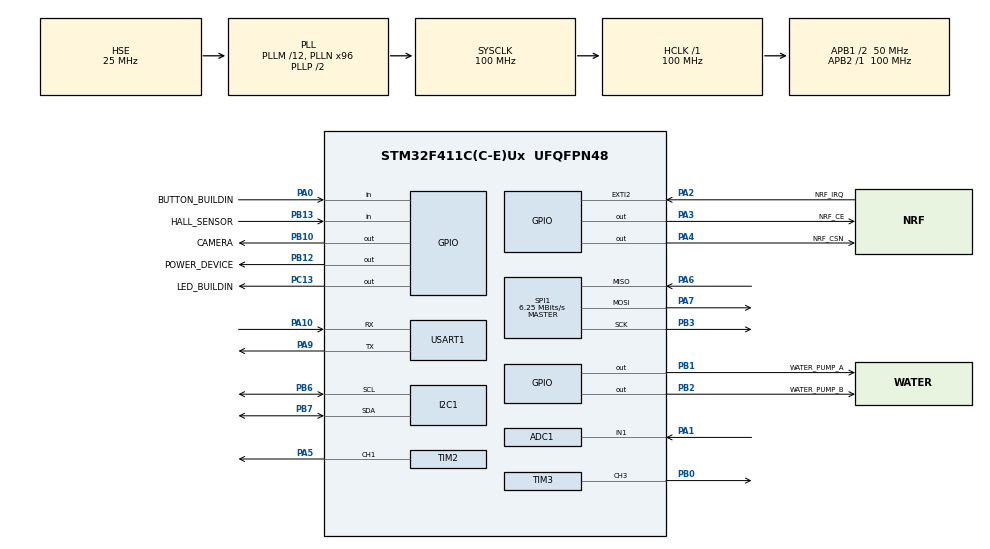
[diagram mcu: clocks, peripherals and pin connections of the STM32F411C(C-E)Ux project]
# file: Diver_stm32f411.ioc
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ADC1.Channel-0\#ChannelRegularConversion=ADC_CHANNEL_1
ADC1.NbrOfConversion=1
ADC1.NbrOfConversionFlag=1
ADC1.Rank-0\#ChannelRegularConversion=1
ADC1.SamplingTime-0\#ChannelRegularConversion=ADC_SAMPLETIME_15CYCLES
ADC1.master=1
Dma.ADC1.0.Direction=DMA_PERIPH_TO_MEMORY
Dma.ADC1.0.FIFOMode=DMA_FIFOMODE_DISABLE
Dma.ADC1.0.Instance=DMA2_Stream0
Dma.ADC1.0.MemDataAlignment=DMA_MDATAALIGN_HALFWORD
Dma.ADC1.0.MemInc=DMA_MINC_ENABLE
Dma.ADC1.0.Mode=DMA_NORMAL
Dma.ADC1.0.PeriphDataAlignment=DMA_PDATAALIGN_HALFWORD
Dma.ADC1.0.PeriphInc=DMA_PINC_DISABLE
Dma.ADC1.0.Priority=DMA_PRIORITY_MEDIUM
Dma.Request0=ADC1
Dma.Request1=TIM2_CH1
Dma.Request2=TIM3_CH3
Dma.TIM2_CH1.1.Direction=DMA_MEMORY_TO_PERIPH
Dma.TIM2_CH1.1.FIFOMode=DMA_FIFOMODE_DISABLE
Dma.TIM2_CH1.1.Instance=DMA1_Stream5
Dma.TIM2_CH1.1.MemDataAlignment=DMA_MDATAALIGN_HALFWORD
Dma.TIM2_CH1.1.MemInc=DMA_MINC_ENABLE
Dma.TIM2_CH1.1.Mode=DMA_NORMAL
Dma.TIM2_CH1.1.PeriphDataAlignment=DMA_PDATAALIGN_HALFWORD
Dma.TIM2_CH1.1.PeriphInc=DMA_PINC_DISABLE
Dma.TIM2_CH1.1.Priority=DMA_PRIORITY_LOW
Dma.TIM3_CH3.2.Direction=DMA_MEMORY_TO_PERIPH
Dma.TIM3_CH3.2.FIFOMode=DMA_FIFOMODE_DISABLE
Dma.TIM3_CH3.2.Instance=DMA1_Stream7
Dma.TIM3_CH3.2.MemDataAlignment=DMA_MDATAALIGN_HALFWORD
Dma.TIM3_CH3.2.MemInc=DMA_MINC_ENABLE
Dma.TIM3_CH3.2.Mode=DMA_NORMAL
Dma.TIM3_CH3.2.PeriphDataAlignment=DMA_PDATAALIGN_HALFWORD
Dma.TIM3_CH3.2.PeriphInc=DMA_PINC_DISABLE
Dma.TIM3_CH3.2.Priority=DMA_PRIORITY_LOW
FREERTOS.Queues01=radioMessage,8,32,1,Dynamic,NULL,NULL
FREERTOS.Tasks01=motors,24,512,motorsTask,Default,NULL,Dynamic,NULL,NULL;radio,40,256,radioTask,Default,NULL,Dynamic,NULL,NULL;syringe,8,256,syringeTask,Default,NULL,Dynamic,NULL,NULL;sensors,8,256,sensorTask,Default,NULL,Dynamic,NULL,NULL
FREERTOS.configUSE_NEWLIB_REENTRANT=1
Mcu.Family=STM32F4
Mcu.Name=STM32F411C(C-E)Ux
Mcu.Package=UFQFPN48
NVIC.ADC_IRQn=true\:5\:0\:false\:false\:true\:true\:true\:true\:true
NVIC.DMA1_Stream5_IRQn=true\:5\:0\:false\:false\:true\:true\:false\:true\:true
NVIC.DMA1_Stream7_IRQn=true\:5\:0\:false\:false\:true\:true\:false\:true\:true
NVIC.DMA2_Stream0_IRQn=true\:5\:0\:false\:false\:true\:true\:false\:true\:true
NVIC.EXTI2_IRQn=true\:5\:0\:false\:false\:true\:true\:true\:true\:true
NVIC.I2C1_EV_IRQn=true\:5\:0\:false\:false\:true\:true\:true\:true\:true
NVIC.PriorityGroup=NVIC_PRIORITYGROUP_4
NVIC.SPI1_IRQn=true\:5\:0\:false\:false\:true\:true\:true\:true\:true
NVIC.TIM1_UP_TIM10_IRQn=true\:0\:0\:false\:false\:true\:false\:false\:true\:true
NVIC.TimeBase=TIM1_UP_TIM10_IRQn
NVIC.TimeBaseIP=TIM1
NVIC.USART1_IRQn=true\:5\:0\:false\:false\:true\:true\:true\:true\:true
PA0-WKUP.GPIO_Label=BUTTON_BUILDIN
PA0-WKUP.GPIO_PuPd=GPIO_PULLUP
PA0-WKUP.Signal=GPIO_Input
PA1.Signal=ADCx_IN1
PA10.Mode=Asynchronous
PA10.Signal=USART1_RX
PA13.Mode=Serial_Wire
PA13.Signal=SYS_JTMS-SWDIO
PA14.Mode=Serial_Wire
PA14.Signal=SYS_JTCK-SWCLK
PA2.GPIO_Label=NRF_IRQ
PA2.GPIO_ModeDefaultEXTI=GPIO_MODE_IT_FALLING
PA2.GPIO_PuPd=GPIO_PULLUP
PA2.Signal=GPXTI2
PA3.GPIO_Label=NRF_CE
PA3.Signal=GPIO_Output
PA4.GPIO_Label=NRF_CSN
PA4.Signal=GPIO_Output
PA5.Signal=S_TIM2_CH1_ETR
PA6.Mode=Full_Duplex_Master
PA6.Signal=SPI1_MISO
PA7.Mode=Full_Duplex_Master
PA7.Signal=SPI1_MOSI
PA9.Mode=Asynchronous
PA9.Signal=USART1_TX
PB0.Signal=S_TIM3_CH3
PB1.GPIO_Label=WATER_PUMP_A
PB1.Signal=GPIO_Output
PB10.GPIO_Label=CAMERA
PB10.Signal=GPIO_Output
PB12.GPIO_Label=POWER_DEVICE
PB12.Signal=GPIO_Output
PB13.GPIO_Label=HALL_SENSOR
PB13.Signal=GPIO_Input
PB2.GPIO_Label=WATER_PUMP_B
PB2.Signal=GPIO_Output
PB3.Mode=Full_Duplex_Master
PB3.Signal=SPI1_SCK
PB6.GPIO_Pu=GPIO_PULLUP
PB6.Mode=I2C
PB6.Signal=I2C1_SCL
PB7.GPIO_Pu=GPIO_PULLUP
PB7.Mode=I2C
PB7.Signal=I2C1_SDA
PC13-ANTI_TAMP.GPIO_Label=LED_BUILDIN
PC13-ANTI_TAMP.Signal=GPIO_Output
PH0\ -\ OSC_IN.Mode=HSE-External-Oscillator
PH0\ -\ OSC_IN.Signal=RCC_OSC_IN
PH1\ -\ OSC_OUT.Mode=HSE-External-Oscillator
PH1\ -\ OSC_OUT.Signal=RCC_OSC_OUT
ProjectManager.HeapSize=0x200
ProjectManager.StackSize=0x400
ProjectManager.TargetToolchain=STM32CubeIDE
RCC.48MHZClocksFreq_Value=50000000
RCC.AHBFreq_Value=100000000
RCC.APB1CLKDivider=RCC_HCLK_DIV2
RCC.APB1Freq_Value=50000000
RCC.APB1TimFreq_Value=100000000
RCC.APB2Freq_Value=100000000
RCC.APB2TimFreq_Value=100000000
RCC.CortexFreq_Value=100000000
RCC.HCLKFreq_Value=100000000
RCC.HSE_VALUE=25000000
RCC.HSI_VALUE=16000000
RCC.LSE_VALUE=32768
RCC.PLLM=12
RCC.PLLN=96
RCC.PLLSourceVirtual=RCC_PLLSOURCE_HSE
RCC.SYSCLKFreq_VALUE=100000000
RCC.SYSCLKSource=RCC_SYSCLKSOURCE_PLLCLK
RCC.VCOOutputFreq_Value=200000000
SH.ADCx_IN1.0=ADC1_IN1,IN1
SH.S_TIM2_CH1_ETR.0=TIM2_CH1,PWM Generation1 CH1
SH.S_TIM3_CH3.0=TIM3_CH3,PWM Generation3 CH3
SPI1.BaudRatePrescaler=SPI_BAUDRATEPRESCALER_16
SPI1.CalculateBaudRate=6.25 MBits/s
SPI1.Direction=SPI_DIRECTION_2LINES
SPI1.Mode=SPI_MODE_MASTER
SPI1.VirtualType=VM_MASTER
TIM2.Channel-PWM\ Generation1\ CH1=TIM_CHANNEL_1
TIM2.Period=2000
TIM2.Prescaler=1000
TIM3.Channel-PWM\ Generation3\ CH3=TIM_CHANNEL_3
TIM3.Period=2000
TIM3.Prescaler=1000
USART1.VirtualMode=VM_ASYNC
VP_FREERTOS_VS_CMSIS_V2.Mode=CMSIS_V2
VP_SYS_VS_tim1.Mode=TIM1
VP_TIM2_VS_ClockSourceINT.Mode=Internal
VP_TIM3_VS_ClockSourceINT.Mode=Internal
board=custom

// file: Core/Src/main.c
/* USER CODE BEGIN Header */
/**
  ******************************************************************************
  * @file           : main.c
  * @brief          : Main program body
  ******************************************************************************
  * @attention
  *
  * <h2><center>&copy; Copyright (c) 2022 STMicroelectronics.
  * All rights reserved.</center></h2>
  *
  * This software component is licensed by ST under BSD 3-Clause license,
  * the "License"; You may not use this file except in compliance with the
  * License. You may obtain a copy of the License at:
  *                        opensource.org/licenses/BSD-3-Clause
  *
  ******************************************************************************
  */
/* USER CODE END Header */
#include "main.h"
#include "cmsis_os.h"

/* USER CODE BEGIN Includes */
#include <stdio.h>
//#include "nrf24l01.h"
#include "nrf24.h"
#include "lcd_i2c.h"
#include "vl6180.h"
#include "mpu6050.h"
#include "bmp280.h"
#include "add.h"
#include "radio_type.h"
/* USER CODE END Includes */

/* USER CODE BEGIN PTD */
typedef enum {
	ADC_CHANNEL_BATTERY,
	ADC_CHANNELS_NUM
} adc_channels;
/* USER CODE END PTD */

/* USER CODE BEGIN PM */
#define MIN_ESC						 						     80
#define MAX_ESC													 230

#define MIN_PISTON_OFFSET										 3
#define MAX_PISTON_OFFSET										 80
#define GUARD_COUNTER_S(x)										 ((x) * 100)

/* USER CODE END PM */

ADC_HandleTypeDef hadc1;
DMA_HandleTypeDef hdma_adc1;

I2C_HandleTypeDef hi2c1;

SPI_HandleTypeDef hspi1;

TIM_HandleTypeDef htim2;
TIM_HandleTypeDef htim3;
DMA_HandleTypeDef hdma_tim2_ch1;
DMA_HandleTypeDef hdma_tim3_ch3;

UART_HandleTypeDef huart1;

/* Definitions for motors */
osThreadId_t motorsHandle;
const osThreadAttr_t motors_attributes = {
  .name = "motors",
  .stack_size = 512 * 4,
  .priority = (osPriority_t) osPriorityNormal,
};
/* Definitions for radio */
osThreadId_t radioHandle;
const osThreadAttr_t radio_attributes = {
  .name = "radio",
  .stack_size = 256 * 4,
  .priority = (osPriority_t) osPriorityHigh,
};
/* Definitions for syringe */
osThreadId_t syringeHandle;
const osThreadAttr_t syringe_attributes = {
  .name = "syringe",
  .stack_size = 256 * 4,
  .priority = (osPriority_t) osPriorityLow,
};
/* Definitions for sensors */
osThreadId_t sensorsHandle;
const osThreadAttr_t sensors_attributes = {
  .name = "sensors",
  .stack_size = 256 * 4,
  .priority = (osPriority_t) osPriorityLow,
};
/* Definitions for radioMessage */
osMessageQueueId_t radioMessageHandle;
const osMessageQueueAttr_t radioMessage_attributes = {
  .name = "radioMessage"
};

void SystemClock_Config(void);
static void MX_GPIO_Init(void);
static void MX_DMA_Init(void);
static void MX_I2C1_Init(void);
static void MX_SPI1_Init(void);
static void MX_USART1_UART_Init(void);
static void MX_ADC1_Init(void);
static void MX_TIM2_Init(void);
static void MX_TIM3_Init(void);
void motorsTask(void *argument);
void radioTask(void *argument);
void syringeTask(void *argument);
void sensorTask(void *argument);

/* USER CODE BEGIN 0 */
uint64_t RxpipeAddrs = 0x11223344AA;
char myRxData[32];

uint32_t counter = 0;

mpu6050_t mpu6050;

uint16_t adcData[ADC_CHANNELS_NUM];
uint16_t adcVoltagemV[ADC_CHANNELS_NUM];
float adcVoltage[ADC_CHANNELS_NUM];

uint8_t piston_offset = 0;
int16_t temp_inside = 0;
uint32_t pressure_inside = 0;

int32_t temp_outside = 0;
uint64_t pressure_outside = 0;

volatile uint8_t rx_irq = 0;
uint8_t nrf_data[32] = {0};

//const uint64_t pipe0 = 0x787878787878;
const uint64_t pipe1 = 0xE8E8F0F0E2LL; // адрес первой трубы
//const uint64_t pipe2 = 0xE8E8F0F0A2LL;
//const uint64_t pipe3 = 0xE8E8F0F0D1LL;
//const uint64_t pipe4 = 0xE8E8F0F0C3LL;
const uint64_t pipe5 = 0xE8E8F0F0E7LL;

/* USER CODE END 0 */

int main(void)
{

  /* MCU Configuration--------------------------------------------------------*/

  /* Reset of all peripherals, Initializes the Flash interface and the Systick. */
  HAL_Init();

  /* Configure the system clock */
  SystemClock_Config();

  /* Initialize all configured peripherals */
  MX_GPIO_Init();
  MX_DMA_Init();
  MX_I2C1_Init();
  MX_SPI1_Init();
  MX_USART1_UART_Init();
  MX_ADC1_Init();
  MX_TIM2_Init();
  MX_TIM3_Init();
  /* USER CODE BEGIN 2 */

  power_on_waiting();

/*
  NRF24_begin(GPIOA, GPIO_PIN_4, GPIO_PIN_3, hspi1);
  nrf24_DebugUART_Init(huart1);

  NRF24_setAutoAck(true);
  NRF24_setChannel(52);
  NRF24_setPayloadSize(32);
  NRF24_openReadingPipe(1, RxpipeAddrs);
  NRF24_enableDynamicPayloads();
  NRF24_enableAckPayload();
  NRF24_startListening();
*/

    nrf_init(&hspi1, RF24_PA_MAX, RF24_250KBPS, 120, &huart1);

	nrf_openReadingPipe(1, pipe1);
	nrf_openReadingPipe(5, pipe5);
	nrf_startListening();
/*
  lcd_init(&hi2c1);
  lcd_clear();
*/
  mpu6050_init(&hi2c1);

  BMP280_Init(&hi2c1);

  bmp280_config conf;
  conf.filter = FILTER_16;
  conf.inactive = INACTIVE_125;
  conf.mode = MODE_NORMAL;
  conf.osrs_p = OVERSAMPLING_16;
  conf.osrs_t = OVERSAMPLING_16;
  BMP280_SetConfig(conf);

  vl6180_init(&hi2c1);

  /* USER CODE END 2 */

  /* Init scheduler */
  osKernelInitialize();

  /* Create the queue(s) */
  /* creation of radioMessage */
  radioMessageHandle = osMessageQueueNew (8, 32, &radioMessage_attributes);

  /* Create the thread(s) */
  /* creation of motors */
  motorsHandle = osThreadNew(motorsTask, NULL, &motors_attributes);

  /* creation of radio */
  radioHandle = osThreadNew(radioTask, NULL, &radio_attributes);

  /* creation of syringe */
  syringeHandle = osThreadNew(syringeTask, NULL, &syringe_attributes);

  /* creation of sensors */
  sensorsHandle = osThreadNew(sensorTask, NULL, &sensors_attributes);

  /* Start scheduler */
  osKernelStart();

  /* We should never get here as control is now taken by the scheduler */
  /* Infinite loop */
  while (1)
  {

  }
}

void SystemClock_Config(void)
{
  RCC_OscInitTypeDef RCC_OscInitStruct = {0};
  RCC_ClkInitTypeDef RCC_ClkInitStruct = {0};

  /** Configure the main internal regulator output voltage
  */
  __HAL_RCC_PWR_CLK_ENABLE();
  __HAL_PWR_VOLTAGESCALING_CONFIG(PWR_REGULATOR_VOLTAGE_SCALE1);

  /** Initializes the RCC Oscillators according to the specified parameters
  * in the RCC_OscInitTypeDef structure.
  */
  RCC_OscInitStruct.OscillatorType = RCC_OSCILLATORTYPE_HSE;
  RCC_OscInitStruct.HSEState = RCC_HSE_ON;
  RCC_OscInitStruct.PLL.PLLState = RCC_PLL_ON;
  RCC_OscInitStruct.PLL.PLLSource = RCC_PLLSOURCE_HSE;
  RCC_OscInitStruct.PLL.PLLM = 12;
  RCC_OscInitStruct.PLL.PLLN = 96;
  RCC_OscInitStruct.PLL.PLLP = RCC_PLLP_DIV2;
  RCC_OscInitStruct.PLL.PLLQ = 4;
  if (HAL_RCC_OscConfig(&RCC_OscInitStruct) != HAL_OK)
  {
    Error_Handler();
  }

  /** Initializes the CPU, AHB and APB buses clocks
  */
  RCC_ClkInitStruct.ClockType = RCC_CLOCKTYPE_HCLK|RCC_CLOCKTYPE_SYSCLK
                              |RCC_CLOCKTYPE_PCLK1|RCC_CLOCKTYPE_PCLK2;
  RCC_ClkInitStruct.SYSCLKSource = RCC_SYSCLKSOURCE_PLLCLK;
  RCC_ClkInitStruct.AHBCLKDivider = RCC_SYSCLK_DIV1;
  RCC_ClkInitStruct.APB1CLKDivider = RCC_HCLK_DIV2;
  RCC_ClkInitStruct.APB2CLKDivider = RCC_HCLK_DIV1;

  if (HAL_RCC_ClockConfig(&RCC_ClkInitStruct, FLASH_LATENCY_3) != HAL_OK)
  {
    Error_Handler();
  }
}

static void MX_ADC1_Init(void)
{

  ADC_ChannelConfTypeDef sConfig = {0};

  /** Configure the global features of the ADC (Clock, Resolution, Data Alignment and number of conversion)
  */
  hadc1.Instance = ADC1;
  hadc1.Init.ClockPrescaler = ADC_CLOCK_SYNC_PCLK_DIV4;
  hadc1.Init.Resolution = ADC_RESOLUTION_12B;
  hadc1.Init.ScanConvMode = DISABLE;
  hadc1.Init.ContinuousConvMode = DISABLE;
  hadc1.Init.DiscontinuousConvMode = DISABLE;
  hadc1.Init.ExternalTrigConvEdge = ADC_EXTERNALTRIGCONVEDGE_NONE;
  hadc1.Init.ExternalTrigConv = ADC_SOFTWARE_START;
  hadc1.Init.DataAlign = ADC_DATAALIGN_RIGHT;
  hadc1.Init.NbrOfConversion = 1;
  hadc1.Init.DMAContinuousRequests = DISABLE;
  hadc1.Init.EOCSelection = ADC_EOC_SINGLE_CONV;
  if (HAL_ADC_Init(&hadc1) != HAL_OK)
  {
    Error_Handler();
  }

  /** Configure for the selected ADC regular channel its corresponding rank in the sequencer and its sample time.
  */
  sConfig.Channel = ADC_CHANNEL_1;
  sConfig.Rank = 1;
  sConfig.SamplingTime = ADC_SAMPLETIME_15CYCLES;
  if (HAL_ADC_ConfigChannel(&hadc1, &sConfig) != HAL_OK)
  {
    Error_Handler();
  }

}

static void MX_I2C1_Init(void)
{

  hi2c1.Instance = I2C1;
  hi2c1.Init.ClockSpeed = 100000;
  hi2c1.Init.DutyCycle = I2C_DUTYCYCLE_2;
  hi2c1.Init.OwnAddress1 = 0;
  hi2c1.Init.AddressingMode = I2C_ADDRESSINGMODE_7BIT;
  hi2c1.Init.DualAddressMode = I2C_DUALADDRESS_DISABLE;
  hi2c1.Init.OwnAddress2 = 0;
  hi2c1.Init.GeneralCallMode = I2C_GENERALCALL_DISABLE;
  hi2c1.Init.NoStretchMode = I2C_NOSTRETCH_DISABLE;
  if (HAL_I2C_Init(&hi2c1) != HAL_OK)
  {
    Error_Handler();
  }

}

static void MX_SPI1_Init(void)
{

  /* SPI1 parameter configuration*/
  hspi1.Instance = SPI1;
  hspi1.Init.Mode = SPI_MODE_MASTER;
  hspi1.Init.Direction = SPI_DIRECTION_2LINES;
  hspi1.Init.DataSize = SPI_DATASIZE_8BIT;
  hspi1.Init.CLKPolarity = SPI_POLARITY_LOW;
  hspi1.Init.CLKPhase = SPI_PHASE_1EDGE;
  hspi1.Init.NSS = SPI_NSS_SOFT;
  hspi1.Init.BaudRatePrescaler = SPI_BAUDRATEPRESCALER_16;
  hspi1.Init.FirstBit = SPI_FIRSTBIT_MSB;
  hspi1.Init.TIMode = SPI_TIMODE_DISABLE;
  hspi1.Init.CRCCalculation = SPI_CRCCALCULATION_DISABLE;
  hspi1.Init.CRCPolynomial = 10;
  if (HAL_SPI_Init(&hspi1) != HAL_OK)
  {
    Error_Handler();
  }

}

static void MX_TIM2_Init(void)
{

  TIM_ClockConfigTypeDef sClockSourceConfig = {0};
  TIM_MasterConfigTypeDef sMasterConfig = {0};
  TIM_OC_InitTypeDef sConfigOC = {0};

  htim2.Instance = TIM2;
  htim2.Init.Prescaler = 1000;
  htim2.Init.CounterMode = TIM_COUNTERMODE_UP;
  htim2.Init.Period = 2000;
  htim2.Init.ClockDivision = TIM_CLOCKDIVISION_DIV1;
  htim2.Init.AutoReloadPreload = TIM_AUTORELOAD_PRELOAD_DISABLE;
  if (HAL_TIM_Base_Init(&htim2) != HAL_OK)
  {
    Error_Handler();
  }
  sClockSourceConfig.ClockSource = TIM_CLOCKSOURCE_INTERNAL;
  if (HAL_TIM_ConfigClockSource(&htim2, &sClockSourceConfig) != HAL_OK)
  {
    Error_Handler();
  }
  if (HAL_TIM_PWM_Init(&htim2) != HAL_OK)
  {
    Error_Handler();
  }
  sMasterConfig.MasterOutputTrigger = TIM_TRGO_RESET;
  sMasterConfig.MasterSlaveMode = TIM_MASTERSLAVEMODE_DISABLE;
  if (HAL_TIMEx_MasterConfigSynchronization(&htim2, &sMasterConfig) != HAL_OK)
  {
    Error_Handler();
  }
  sConfigOC.OCMode = TIM_OCMODE_PWM1;
  sConfigOC.Pulse = 0;
  sConfigOC.OCPolarity = TIM_OCPOLARITY_HIGH;
  sConfigOC.OCFastMode = TIM_OCFAST_DISABLE;
  if (HAL_TIM_PWM_ConfigChannel(&htim2, &sConfigOC, TIM_CHANNEL_1) != HAL_OK)
  {
    Error_Handler();
  }
  HAL_TIM_MspPostInit(&htim2);

}

static void MX_TIM3_Init(void)
{

  TIM_ClockConfigTypeDef sClockSourceConfig = {0};
  TIM_MasterConfigTypeDef sMasterConfig = {0};
  TIM_OC_InitTypeDef sConfigOC = {0};

  htim3.Instance = TIM3;
  htim3.Init.Prescaler = 1000;
  htim3.Init.CounterMode = TIM_COUNTERMODE_UP;
  htim3.Init.Period = 2000;
  htim3.Init.ClockDivision = TIM_CLOCKDIVISION_DIV1;
  htim3.Init.AutoReloadPreload = TIM_AUTORELOAD_PRELOAD_DISABLE;
  if (HAL_TIM_Base_Init(&htim3) != HAL_OK)
  {
    Error_Handler();
  }
  sClockSourceConfig.ClockSource = TIM_CLOCKSOURCE_INTERNAL;
  if (HAL_TIM_ConfigClockSource(&htim3, &sClockSourceConfig) != HAL_OK)
  {
    Error_Handler();
  }
  if (HAL_TIM_PWM_Init(&htim3) != HAL_OK)
  {
    Error_Handler();
  }
  sMasterConfig.MasterOutputTrigger = TIM_TRGO_RESET;
  sMasterConfig.MasterSlaveMode = TIM_MASTERSLAVEMODE_DISABLE;
  if (HAL_TIMEx_MasterConfigSynchronization(&htim3, &sMasterConfig) != HAL_OK)
  {
    Error_Handler();
  }
  sConfigOC.OCMode = TIM_OCMODE_PWM1;
  sConfigOC.Pulse = 0;
  sConfigOC.OCPolarity = TIM_OCPOLARITY_HIGH;
  sConfigOC.OCFastMode = TIM_OCFAST_DISABLE;
  if (HAL_TIM_PWM_ConfigChannel(&htim3, &sConfigOC, TIM_CHANNEL_3) != HAL_OK)
  {
    Error_Handler();
  }
  HAL_TIM_MspPostInit(&htim3);

}

static void MX_USART1_UART_Init(void)
{

  huart1.Instance = USART1;
  huart1.Init.BaudRate = 115200;
  huart1.Init.WordLength = UART_WORDLENGTH_8B;
  huart1.Init.StopBits = UART_STOPBITS_1;
  huart1.Init.Parity = UART_PARITY_NONE;
  huart1.Init.Mode = UART_MODE_TX_RX;
  huart1.Init.HwFlowCtl = UART_HWCONTROL_NONE;
  huart1.Init.OverSampling = UART_OVERSAMPLING_16;
  if (HAL_UART_Init(&huart1) != HAL_OK)
  {
    Error_Handler();
  }

}

static void MX_DMA_Init(void)
{

  /* DMA controller clock enable */
  __HAL_RCC_DMA2_CLK_ENABLE();
  __HAL_RCC_DMA1_CLK_ENABLE();

  /* DMA interrupt init */
  /* DMA1_Stream5_IRQn interrupt configuration */
  HAL_NVIC_SetPriority(DMA1_Stream5_IRQn, 5, 0);
  HAL_NVIC_EnableIRQ(DMA1_Stream5_IRQn);
  /* DMA1_Stream7_IRQn interrupt configuration */
  HAL_NVIC_SetPriority(DMA1_Stream7_IRQn, 5, 0);
  HAL_NVIC_EnableIRQ(DMA1_Stream7_IRQn);
  /* DMA2_Stream0_IRQn interrupt configuration */
  HAL_NVIC_SetPriority(DMA2_Stream0_IRQn, 5, 0);
  HAL_NVIC_EnableIRQ(DMA2_Stream0_IRQn);

}

static void MX_GPIO_Init(void)
{
  GPIO_InitTypeDef GPIO_InitStruct = {0};

  /* GPIO Ports Clock Enable */
  __HAL_RCC_GPIOC_CLK_ENABLE();
  __HAL_RCC_GPIOH_CLK_ENABLE();
  __HAL_RCC_GPIOA_CLK_ENABLE();
  __HAL_RCC_GPIOB_CLK_ENABLE();

  /*Configure GPIO pin Output Level */
  HAL_GPIO_WritePin(LED_BUILDIN_GPIO_Port, LED_BUILDIN_Pin, GPIO_PIN_RESET);

  /*Configure GPIO pin Output Level */
  HAL_GPIO_WritePin(GPIOA, NRF_CE_Pin|NRF_CSN_Pin, GPIO_PIN_RESET);

  /*Configure GPIO pin Output Level */
  HAL_GPIO_WritePin(GPIOB, WATER_PUMP_A_Pin|WATER_PUMP_B_Pin|CAMERA_Pin|POWER_DEVICE_Pin, GPIO_PIN_RESET);

  /*Configure GPIO pin : LED_BUILDIN_Pin */
  GPIO_InitStruct.Pin = LED_BUILDIN_Pin;
  GPIO_InitStruct.Mode = GPIO_MODE_OUTPUT_PP;
  GPIO_InitStruct.Pull = GPIO_NOPULL;
  GPIO_InitStruct.Speed = GPIO_SPEED_FREQ_LOW;
  HAL_GPIO_Init(LED_BUILDIN_GPIO_Port, &GPIO_InitStruct);

  /*Configure GPIO pin : BUTTON_BUILDIN_Pin */
  GPIO_InitStruct.Pin = BUTTON_BUILDIN_Pin;
  GPIO_InitStruct.Mode = GPIO_MODE_INPUT;
  GPIO_InitStruct.Pull = GPIO_PULLUP;
  HAL_GPIO_Init(BUTTON_BUILDIN_GPIO_Port, &GPIO_InitStruct);

  /*Configure GPIO pin : NRF_IRQ_Pin */
  GPIO_InitStruct.Pin = NRF_IRQ_Pin;
  GPIO_InitStruct.Mode = GPIO_MODE_IT_FALLING;
  GPIO_InitStruct.Pull = GPIO_PULLUP;
  HAL_GPIO_Init(NRF_IRQ_GPIO_Port, &GPIO_InitStruct);

  /*Configure GPIO pins : NRF_CE_Pin NRF_CSN_Pin */
  GPIO_InitStruct.Pin = NRF_CE_Pin|NRF_CSN_Pin;
  GPIO_InitStruct.Mode = GPIO_MODE_OUTPUT_PP;
  GPIO_InitStruct.Pull = GPIO_NOPULL;
  GPIO_InitStruct.Speed = GPIO_SPEED_FREQ_LOW;
  HAL_GPIO_Init(GPIOA, &GPIO_InitStruct);

  /*Configure GPIO pins : WATER_PUMP_A_Pin WATER_PUMP_B_Pin CAMERA_Pin POWER_DEVICE_Pin */
  GPIO_InitStruct.Pin = WATER_PUMP_A_Pin|WATER_PUMP_B_Pin|CAMERA_Pin|POWER_DEVICE_Pin;
  GPIO_InitStruct.Mode = GPIO_MODE_OUTPUT_PP;
  GPIO_InitStruct.Pull = GPIO_NOPULL;
  GPIO_InitStruct.Speed = GPIO_SPEED_FREQ_LOW;
  HAL_GPIO_Init(GPIOB, &GPIO_InitStruct);

  /*Configure GPIO pin : HALL_SENSOR_Pin */
  GPIO_InitStruct.Pin = HALL_SENSOR_Pin;
  GPIO_InitStruct.Mode = GPIO_MODE_INPUT;
  GPIO_InitStruct.Pull = GPIO_NOPULL;
  HAL_GPIO_Init(HALL_SENSOR_GPIO_Port, &GPIO_InitStruct);

  /* EXTI interrupt init*/
  HAL_NVIC_SetPriority(EXTI2_IRQn, 5, 0);
  HAL_NVIC_EnableIRQ(EXTI2_IRQn);

}

/* USER CODE BEGIN 4 */
void HAL_ADC_ConvCpltCallback(ADC_HandleTypeDef* hadc)
{
  if(hadc->Instance == ADC1)
  {
/*    for (uint8_t i = 1; i < ADC_CHANNELS_NUM+1; i++)
    {
      adcVoltage[i-1] = adcData[i-1] * 3.3 / 4095;
    }*/
	  adcVoltagemV[0] = adcData[0] * 3300 / 4095 * 375 / 75;

	  HAL_ADC_Stop_DMA(&hadc1);
  }
}

void HAL_GPIO_EXTI_Callback(uint16_t GPIO_Pin)
{
	if(GPIO_Pin == NRF_IRQ_EXTI_IRQn)
	{
		HAL_UART_Transmit(&huart1, (uint8_t*)"IRQ\n", strlen("IRQ\n"), 1000);
		rx_irq = 1;
	}
}

void set_pump_direction(pump_states_t state){
	if (state == PUMP_PULL){
		HAL_GPIO_WritePin(GPIOB, WATER_PUMP_A_Pin, GPIO_PIN_SET);
		HAL_GPIO_WritePin(GPIOB, WATER_PUMP_B_Pin, GPIO_PIN_RESET);
	} else if (state == PUMP_PUSH){
		HAL_GPIO_WritePin(GPIOB, WATER_PUMP_A_Pin, GPIO_PIN_RESET);
		HAL_GPIO_WritePin(GPIOB, WATER_PUMP_B_Pin, GPIO_PIN_SET);
	} else {
		HAL_GPIO_WritePin(GPIOB, WATER_PUMP_A_Pin, GPIO_PIN_RESET);
		HAL_GPIO_WritePin(GPIOB, WATER_PUMP_B_Pin, GPIO_PIN_RESET);
	}
}

void power_on_waiting(void){
	if (HAL_GPIO_ReadPin(GPIOB, HALL_SENSOR_Pin) == GPIO_PIN_RESET){
		HAL_GPIO_WritePin(GPIOB, POWER_DEVICE_Pin, GPIO_PIN_RESET);
	}
}

/* USER CODE END 4 */

void motorsTask(void *argument)
{
  /* USER CODE BEGIN 5 */
  static uint8_t left_motor = MIN_ESC;
  static uint8_t right_motor = MIN_ESC;
/*
  __HAL_TIM_SET_COMPARE(&htim2, TIM_CHANNEL_1, MAX_ESC);
  __HAL_TIM_SET_COMPARE(&htim3, TIM_CHANNEL_3, MAX_ESC);

  osDelay(6000);
*/
  __HAL_TIM_SET_COMPARE(&htim2, TIM_CHANNEL_1, MIN_ESC);
  __HAL_TIM_SET_COMPARE(&htim3, TIM_CHANNEL_3, MIN_ESC);

  osDelay(6000);

  /* Infinite loop */
  for(;;)
  {

	left_motor = map(nrf_data[LEFT_MOTOR], 0, 255, 80, 230);
	right_motor = map(nrf_data[RIGHT_MOTOR], 0, 255, 80, 230);

//	htim2.Instance->CCR1 = counter;
//	htim3.Instance->CCR1 = counter;
	__HAL_TIM_SET_COMPARE(&htim2, TIM_CHANNEL_1, left_motor);
	__HAL_TIM_SET_COMPARE(&htim3, TIM_CHANNEL_3, right_motor);

	if (nrf_data[CAMERA_COMMAND] == CAMERA_ON){
		HAL_GPIO_WritePin(GPIOB, CAMERA_Pin, GPIO_PIN_SET);
	} else {
		HAL_GPIO_WritePin(GPIOB, CAMERA_Pin, GPIO_PIN_RESET);
	}

    osDelay(100);
  }
  /* USER CODE END 5 */
}

void radioTask(void *argument)
{
  /* USER CODE BEGIN radioTask */
	char str[64];
	//pressure p;
  //char radioMessage[32] = {0};
  //osMessageQueueGet(radioMessageHandle, &radioMessage, NULL, 200);
  /* Infinite loop */
  for(;;)
  {

	  	uint8_t nrf_ack[32] = {0};
	  	uint8_t pipe_num = 0;

	  	if(nrf_available(&pipe_num)/* && rx_irq == 1*/) // проверяем пришло ли что-то
	  	{
	  		rx_irq = 0;

	  	  //clear array
	  	  for (uint8_t i = 0; i < 32; i++){
	  		  nrf_data[i] = 0;
	  	  }

			for (uint8_t i = 0; i < 32; i++){
				nrf_ack[i] = 0;
			}

			//TODO: try to call nrf_read before nrf_writeAckPayload
			nrf_ack[TEMP_INSIDE_MSB] = nrf_data[TEST_BYTE];

			nrf_ack[TEMP_INSIDE_MSB] = temp_inside;
			nrf_ack[TEMP_INSIDE_LSB] = temp_inside >> 8;

			nrf_ack[PRESSURE_INSIDE_0] = (uint8_t)(pressure_inside >>  0);
			nrf_ack[PRESSURE_INSIDE_1] = (uint8_t)(pressure_inside >>  8);
			nrf_ack[PRESSURE_INSIDE_2] = (uint8_t)(pressure_inside >> 16);
			nrf_ack[PRESSURE_INSIDE_3] = (uint8_t)(pressure_inside >> 24);

			nrf_ack[PISTON_OFFSET] = piston_offset;

			nrf_ack[BATTERY_VOLTAGE_MSB] = adcVoltagemV[ADC_CHANNEL_BATTERY];
			nrf_ack[BATTERY_VOLTAGE_LSB] = adcVoltagemV[ADC_CHANNEL_BATTERY] >> 8;

			nrf_ack[X_AXIS_MSB] = (int16_t)mpu6050.KalmanAngleX;
			nrf_ack[X_AXIS_LSB] = ((int16_t)mpu6050.KalmanAngleX) >> 8;

			nrf_ack[Y_AXIS_MSB] = (int16_t)mpu6050.KalmanAngleY;
			nrf_ack[Y_AXIS_LSB] = ((int16_t)mpu6050.KalmanAngleY) >> 8;

	  		nrf_writeAckPayload(pipe_num, &nrf_ack, sizeof(nrf_ack)); // отправляем полезную нагрузку вместе с подтверждением

	  		if(pipe_num == 0)
	  		{
//	  			HAL_UART_Transmit(&huart1, (uint8_t*)"pipe 0\n", strlen("pipe 0\n"), 1000);
	  		}

	  		else if(pipe_num == 1)
	  		{
//	  			HAL_UART_Transmit(&huart1, (uint8_t*)"pipe 1\n", strlen("pipe 1\n"), 1000);

	  			uint8_t count = nrf_getDynamicPayloadSize(); // смотрим сколько байт прилетело

	  			nrf_read(&nrf_data, 32/*count*/); // Читаем данные в массив nrf_data и указываем сколько байт читать

	  				HAL_GPIO_TogglePin(GPIOC, GPIO_PIN_13);
//	  				snprintf(str, 128, "FORWARD=%d BACKWARD=%d LEFT=%d RIGHT=%d DEPHT=%d LEFT_BUT=%d RIGHT_BUT=%d\n", nrf_data[FORWARD], nrf_data[BACKWARD], nrf_data[LEFT_MOTOR], nrf_data[RIGHT_MOTOR], nrf_data[DEPHT_OFFSET], nrf_data[LEFT_BUT], nrf_data[RIGHT_BUT]);
//	  				HAL_UART_Transmit(&huart1, (uint8_t*)str, strlen(str), 1000);

	  		}
/*
	  		else if(pipe_num == 2)
	  		{
	  			HAL_UART_Transmit(&huart1, (uint8_t*)"pipe 2\n", strlen("pipe 2\n"), 1000);
	  		}

	  		else if(pipe_num == 5)
	  		{
	  			HAL_UART_Transmit(&huart1, (uint8_t*)"pipe 5\n", strlen("pipe 5\n"), 1000);
	  			uint8_t count = nrf_getDynamicPayloadSize(); // смотрим сколько байт прилетело

				nrf_read(&nrf_data, count); // Читаем данные в массив nrf_data и указываем сколько байт читать

					HAL_GPIO_TogglePin(GPIOC, GPIO_PIN_13);
					snprintf(str, 64, "data[0]=%d data[1]=%d data[2]=%d\n", nrf_data[0], nrf_data[1], nrf_data[2]);
					HAL_UART_Transmit(&huart1, (uint8_t*)str, strlen(str), 1000);

	  		}

	  		else
	  		{
	  			while(nrf_availableMy()) // если данные придут от неуказанной трубы, то попадут сюда
	  			{
	  				nrf_read(&nrf_data, sizeof(nrf_data));
	  				HAL_UART_Transmit(&huart1, (uint8_t*)"Unknown pipe\n", strlen("Unknown pipe\n"), 1000);
	  			}
	  		}*/
	  	}

/*
	if(NRF24_available())
	{
	  printStatusReg();

	  printConfigReg();

	  NRF24_read(myRxData, 32);
	  sprintf(myAckPayload, "%d,%d,%d,%d,%d,%d", 1, 0 ,0, piston_offset, temp_inside, pressure_inside);
	  NRF24_writeAckPayload(1, myAckPayload, 32);
	  HAL_GPIO_TogglePin(GPIOC, GPIO_PIN_13);
	  //myRxData[32] = '\r'; myRxData[32+1] = '\n';
	  HAL_UART_Transmit(&huart1, (uint8_t *)"Received: ", strlen("Received: "), 10);
	  HAL_UART_Transmit(&huart1, (uint8_t *)myRxData, strlen(myRxData), 10);
	  osMessageQueuePut(radioMessageHandle, &myRxData, 0, 200);
	}*/
	osDelay(1);
  }
  /* USER CODE END radioTask */
}

void syringeTask(void *argument)
{
  /* USER CODE BEGIN syringeTask */
  static uint8_t guard_counter = 0;
  /* Infinite loop */
  for(;;)
  {

	 if (piston_offset > MIN_PISTON_OFFSET && piston_offset < MAX_PISTON_OFFSET){
		 if (++guard_counter < GUARD_COUNTER_S(10)){
			 set_pump_direction((pump_states_t)nrf_data[DEPHT_OFFSET]);
		 }
		 else {
			 guard_counter = 0;
		 }
	 } else {
		 set_pump_direction(PUMP_OFF);
		 guard_counter = 0;
	 }

    osDelay(10);
  }
  /* USER CODE END syringeTask */
}

void sensorTask(void *argument)
{
  /* USER CODE BEGIN sensorTask */
  char str[32] = {0};
  /* Infinite loop */
  for(;;)
  {
	mpu6050_read_all(&mpu6050);

	sprintf(str, "x:%.2f y:%.2f ", mpu6050.KalmanAngleX, mpu6050.KalmanAngleY);
	HAL_UART_Transmit(&huart1, (uint8_t *)str, strlen(str), 100);

	HAL_ADC_Start_DMA(&hadc1, (uint32_t*)adcData, ADC_CHANNELS_NUM);

	temp_inside = (uint16_t)BMP280_GetTemperature();

	pressure_inside = (uint32_t)(BMP280_GetPressure()/256);

	piston_offset = get_distance_mm();

	sprintf(str, "T: %d, P: %d, d: %d mm\r\n", temp_inside, pressure_inside, piston_offset);
	HAL_UART_Transmit(&huart1, (uint8_t *)str, strlen(str), 100);

	osDelay(100);
  }
  /* USER CODE END sensorTask */
}

void HAL_TIM_PeriodElapsedCallback(TIM_HandleTypeDef *htim)
{
  if (htim->Instance == TIM1) {
    HAL_IncTick();
  }
}

void Error_Handler(void)
{
  __disable_irq();
  while (1)
  {
  }
}
